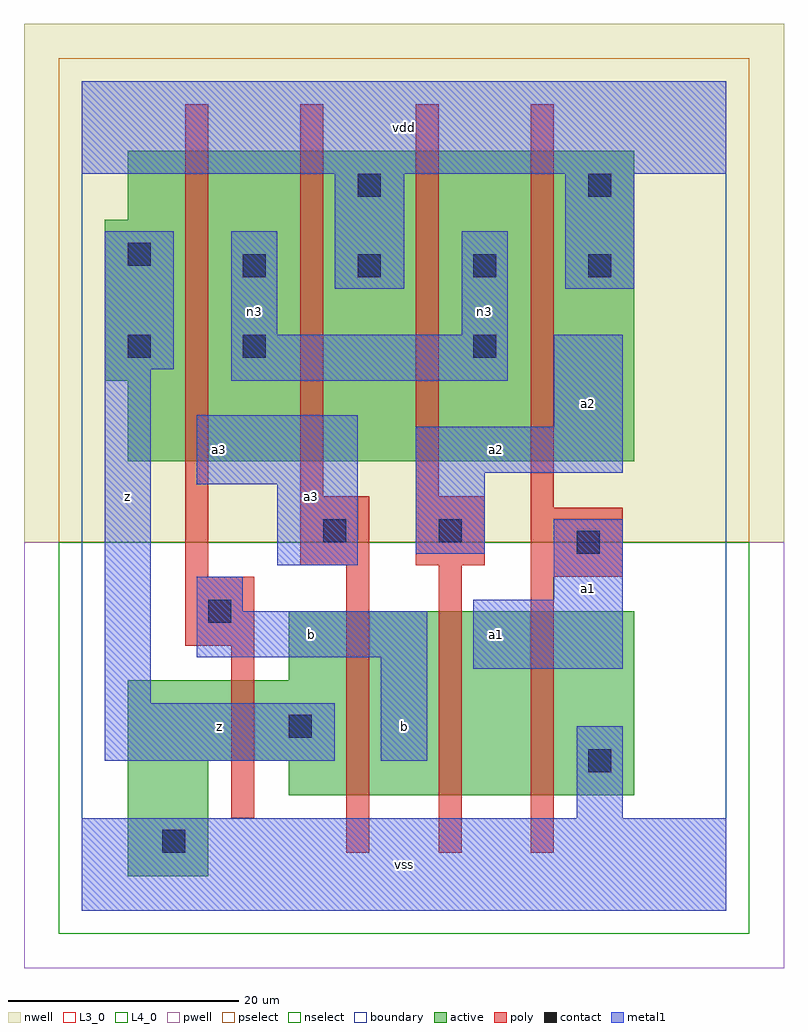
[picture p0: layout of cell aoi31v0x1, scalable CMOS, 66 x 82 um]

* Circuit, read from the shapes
.subckt aoi31v0x1 a1 a2 a3 b n3 vdd vss z
M1 z b vss VSUBS nfet w=7u l=2u
M2 n1 a3 z VSUBS nfet w=16u l=2u
M3 n2 a2 n1 VSUBS nfet w=16u l=2u
M4 vss a1 n2 VSUBS nfet w=16u l=2u
M5 n3 b z n4 pfet w=27u l=2u
M6 vdd a3 n3 n4 pfet w=27u l=2u
M7 n3 a2 vdd n4 pfet w=27u l=2u
M8 vdd a1 n3 n4 pfet w=27u l=2u
.ends

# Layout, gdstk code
import gdstk
lib = gdstk.Library(unit=1e-6, precision=1e-09)
def R(c, l, rs):  # rectangles x0, y0, x1, y1
    for r in rs: c.add(gdstk.rectangle(r[:2], r[2:], *l))
def A(c, l, x, y, w, h, nx, ny, dx, dy):  # array of equal rectangles
    R(c, l, [(x+i*dx, y+j*dy, x+i*dx+w, y+j*dy+h) for i in range(nx) for j in range(ny)])
L3_0 = (3, 0)
L4_0 = (4, 0)
contact = (25, 0)
pwell = (41, 0)
nwell = (42, 0)
active = (43, 0)
pselect = (44, 0)
nselect = (45, 0)
poly = (46, 0)
metal1 = (49, 0)
boundary = (63, 0)

aoi31v0x1 = lib.new_cell('aoi31v0x1')
R(aoi31v0x1, L3_0, [(4,3,11,13), (18,10,48,13), (4,13,48,20), (18,20,48,26)])
R(aoi31v0x1, L4_0, [(4,39,48,46), (2,46,48,60), (4,60,48,66)])
A(aoi31v0x1, contact, 14, 55, 2, 2, 4, 1, 10, 0)
R(aoi31v0x1, contact, [(7,5,9,7), (44,12,46,14), (18,15,20,17), (11,25,13,27), (43,31,45,33), (21,32,23,34), (31,32,33,34), (4,48,6,50), (14,48,16,50), (34,48,36,50), (4,56,6,58), (24,62,26,64), (44,62,46,64)])
R(aoi31v0x1, pwell, [(-5,-5,61,32)])
R(aoi31v0x1, nwell, [(-5,32,61,77)])
R(aoi31v0x1, active, [(4,3,11,13), (18,10,48,13), (4,13,48,20), (18,20,48,26), (4,39,48,46), (2,46,48,60), (4,60,48,66)])
R(aoi31v0x1, pselect, [(-2,32,58,74)])
R(aoi31v0x1, nselect, [(-2,-2,58,32)])
R(aoi31v0x1, poly, [(23,5,25,30), (31,5,33,30), (39,5,41,29), (13,8,15,23), (9,23,15,29), (9,29,11,70), (39,29,47,35), (19,30,25,36), (29,30,35,36), (39,35,41,70), (19,36,21,70), (29,36,31,70)])
R(aoi31v0x1, metal1, [(0,0,56,8), (43,8,47,16), (2,13,22,18), (26,13,30,22), (2,18,6,47), (34,21,47,27), (10,22,30,26), (10,26,14,29), (41,27,47,34), (17,30,24,37), (29,31,35,38), (10,37,24,43), (29,38,47,42), (41,42,47,50), (13,46,37,50), (2,47,8,59), (13,50,17,59), (33,50,37,59), (22,54,28,64), (42,54,48,64), (0,64,56,72)])
R(aoi31v0x1, boundary, [(0,0,56,72)])
aoi31v0x1.add(gdstk.Label('n3', (15,52), layer=49, texttype=0))
aoi31v0x1.add(gdstk.Label('n3', (35,52), layer=49, texttype=0))
aoi31v0x1.add(gdstk.Label('z', (4,36), layer=49, texttype=0))
aoi31v0x1.add(gdstk.Label('z', (12,16), layer=49, texttype=0))
aoi31v0x1.add(gdstk.Label('b', (20,24), layer=49, texttype=0))
aoi31v0x1.add(gdstk.Label('a3', (20,36), layer=49, texttype=0))
aoi31v0x1.add(gdstk.Label('a3', (12,40), layer=49, texttype=0))
aoi31v0x1.add(gdstk.Label('vss', (28,4), layer=49, texttype=0))
aoi31v0x1.add(gdstk.Label('b', (28,16), layer=49, texttype=0))
aoi31v0x1.add(gdstk.Label('a1', (36,24), layer=49, texttype=0))
aoi31v0x1.add(gdstk.Label('a2', (36,40), layer=49, texttype=0))
aoi31v0x1.add(gdstk.Label('vdd', (28,68), layer=49, texttype=0))
aoi31v0x1.add(gdstk.Label('a1', (44,28), layer=49, texttype=0))
aoi31v0x1.add(gdstk.Label('a2', (44,44), layer=49, texttype=0))

lib.write_gds('aoi31v0x1.gds')
